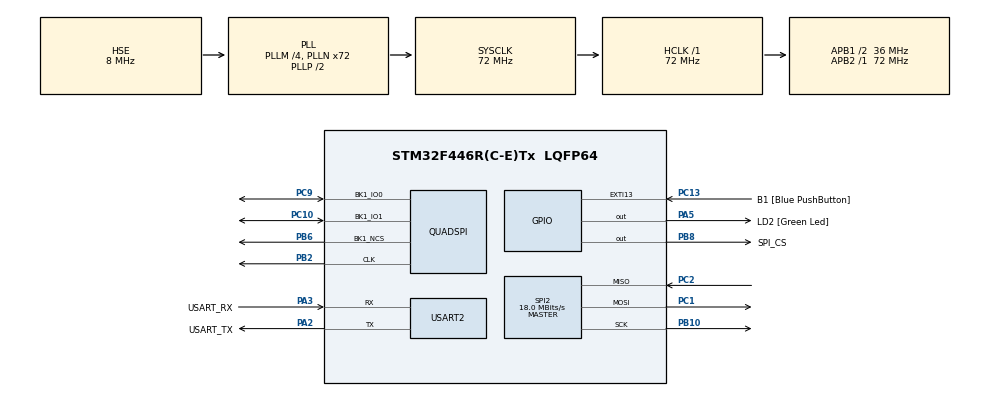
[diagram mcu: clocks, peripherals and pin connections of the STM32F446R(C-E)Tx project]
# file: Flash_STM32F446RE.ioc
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Mcu.Family=STM32F4
Mcu.Name=STM32F446R(C-E)Tx
Mcu.Package=LQFP64
NVIC.PriorityGroup=NVIC_PRIORITYGROUP_0
PA13.GPIO_Label=TMS
PA13.Mode=Serial_Wire
PA13.Signal=SYS_JTMS-SWDIO
PA14.GPIO_Label=TCK
PA14.Mode=Serial_Wire
PA14.Signal=SYS_JTCK-SWCLK
PA2.GPIO_Label=USART_TX
PA2.Mode=Asynchronous
PA2.Signal=USART2_TX
PA3.GPIO_Label=USART_RX
PA3.Mode=Asynchronous
PA3.Signal=USART2_RX
PA5.GPIO_Label=LD2 [Green Led]
PA5.Signal=GPIO_Output
PB10.Mode=Full_Duplex_Master
PB10.Signal=SPI2_SCK
PB2.Mode=Single Bank 1 2IOs
PB2.Signal=QUADSPI_CLK
PB3.GPIO_Label=SWO
PB3.Signal=SYS_JTDO-SWO
PB6.Mode=Single Bank 1 2IOs
PB6.Signal=QUADSPI_BK1_NCS
PB8.GPIO_Label=SPI_CS
PB8.Signal=GPIO_Output
PC1.Mode=Full_Duplex_Master
PC1.Signal=SPI2_MOSI
PC10.Mode=Single Bank 1 2IOs
PC10.Signal=QUADSPI_BK1_IO1
PC13.GPIO_Label=B1 [Blue PushButton]
PC13.GPIO_ModeDefaultEXTI=GPIO_MODE_IT_FALLING
PC13.Signal=GPXTI13
PC14-OSC32_IN.Mode=LSE-External-Oscillator
PC14-OSC32_IN.Signal=RCC_OSC32_IN
PC15-OSC32_OUT.Mode=LSE-External-Oscillator
PC15-OSC32_OUT.Signal=RCC_OSC32_OUT
PC2.Mode=Full_Duplex_Master
PC2.Signal=SPI2_MISO
PC9.Mode=Single Bank 1 2IOs
PC9.Signal=QUADSPI_BK1_IO0
PH0-OSC_IN.Mode=HSE-External-Oscillator
PH0-OSC_IN.Signal=RCC_OSC_IN
PH1-OSC_OUT.Mode=HSE-External-Oscillator
PH1-OSC_OUT.Signal=RCC_OSC_OUT
ProjectManager.HeapSize=0x200
ProjectManager.StackSize=0x400
ProjectManager.TargetToolchain=STM32CubeIDE
RCC.48MHZClocksFreq_Value=84000000
RCC.AHBFreq_Value=72000000
RCC.APB1CLKDivider=RCC_HCLK_DIV2
RCC.APB1Freq_Value=36000000
RCC.APB1TimFreq_Value=72000000
RCC.APB2Freq_Value=72000000
RCC.APB2TimFreq_Value=72000000
RCC.CortexFreq_Value=72000000
RCC.FLatency-AdvancedSettings=FLASH_LATENCY_2
RCC.HCLKFreq_Value=72000000
RCC.HSE_VALUE=8000000
RCC.HSI_VALUE=16000000
RCC.PLLM=4
RCC.PLLN=72
RCC.PLLSourceVirtual=RCC_PLLSOURCE_HSE
RCC.SYSCLKFreq_VALUE=72000000
RCC.SYSCLKSource=RCC_SYSCLKSOURCE_PLLCLK
RCC.USBFreq_Value=72000000
RCC.VCOOutputFreq_Value=144000000
SPI2.CalculateBaudRate=18.0 MBits/s
SPI2.Direction=SPI_DIRECTION_2LINES
SPI2.Mode=SPI_MODE_MASTER
SPI2.VirtualType=VM_MASTER
TIM1.Prescaler=72-1
USART2.VirtualMode=VM_ASYNC
VP_TIM1_VS_ClockSourceINT.Mode=Internal
board=NUCLEO-F446RE

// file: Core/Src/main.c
/* USER CODE BEGIN Header */
/**
  ******************************************************************************
  * @file           : main.c
  * @brief          : Main program body
  ******************************************************************************
  * @attention
  *
  * Copyright (c) 2023 STMicroelectronics.
  * All rights reserved.
  *
  * This software is licensed under terms that can be found in the LICENSE file
  * in the root directory of this software component.
  * If no LICENSE file comes with this software, it is provided AS-IS.
  *
  ******************************************************************************
  */
/* USER CODE END Header */
#include "main.h"

/* USER CODE BEGIN Includes */
#include "w25qxx/driver_w25qxx_basic.h"
#include "w25qxx/driver_w25qxx_advance.h"
#include "w25qxx/driver_w25qxx_read_test.h"
#include "w25qxx/driver_w25qxx_register_test.h"
#include "w25qxx/delay.h"
//#include "w25qxx/uart.h"

/* USER CODE END Includes */

QSPI_HandleTypeDef hqspi;

SPI_HandleTypeDef hspi2;

TIM_HandleTypeDef htim1;

UART_HandleTypeDef huart2;

void SystemClock_Config(void);
static void MX_GPIO_Init(void);
static void MX_USART2_UART_Init(void);
static void MX_SPI2_Init(void);
static void MX_TIM1_Init(void);
static void MX_QUADSPI_Init(void);

int main(void)
{

  /* MCU Configuration--------------------------------------------------------*/

  /* Reset of all peripherals, Initializes the Flash interface and the Systick. */
  HAL_Init();

  /* Configure the system clock */
  SystemClock_Config();

  /* Initialize all configured peripherals */
  MX_GPIO_Init();
  MX_USART2_UART_Init();
  MX_SPI2_Init();
  MX_TIM1_Init();
  MX_QUADSPI_Init();
  /* USER CODE BEGIN 2 */

  //uart2_init(115200);

  uint8_t data[32] = "HELLO\n";
  uint8_t dat;
  uint8_t res;
  char print_message[32];

  res = w25qxx_basic_init(W25Q64, W25QXX_INTERFACE_QSPI, W25QXX_BOOL_FALSE);
  if (res != 0)
  {
      memcpy(data, "Failed to initialise!", 32);
      HAL_UART_Transmit(&huart2, data, sizeof(data), 10);
      return 1;
  }

  //(void)w25qxx_basic_deinit();

  //return 0;

	/*__HAL_TIM_SET_COUNTER(&htim1,0);  // set the counter value a 0
	int counterman = 0;
	int cntval = 0;
	while (__HAL_TIM_GET_COUNTER(&htim1) < 10){
		counterman++;
		cntval = __HAL_TIM_GET_COUNTER(&htim1);
		// wait for the counter to reach the us input in the parameter
	}*/

  int address = 0;

  /* USER CODE END 2 */

  /* Infinite loop */
  while (1)
  {

    /* USER CODE BEGIN 3 */

	dat = (address % 256) & 0xFF;
	res = w25qxx_basic_write(address, (uint8_t *)&dat, 1);
	if (res != 0)
	{
		(void)w25qxx_basic_deinit();

		return 1;
	}
	else
	{
	  sprintf(print_message,"w25qxx: addr %d is %d.\n", address, dat);
	  HAL_UART_Transmit(&huart2, print_message, sizeof(print_message), 10);
	}

	res = w25qxx_basic_read(0x0, (uint8_t *)&dat, 1);
	if (res != 0)
	{
	  (void)w25qxx_basic_deinit();
	  memcpy(data, "Failed to read!", 32);
	  HAL_UART_Transmit(&huart2, data, sizeof(data), 10);
	  return 1;
	}
	else
	{
	  sprintf(print_message,"w25qxx: addr %d is %d.\n", address, dat);
	  HAL_UART_Transmit(&huart2, print_message, sizeof(print_message), 10);
	  //w25qxx_interface_debug_print("w25qxx: addr %d is %d.\n", 0x0, dat);
	}

	address++;
	//HAL_UART_Transmit(&huart2, data, sizeof(data), 10);
	HAL_Delay(1000);
  }
  /* USER CODE END 3 */
}

void SystemClock_Config(void)
{
  RCC_OscInitTypeDef RCC_OscInitStruct = {0};
  RCC_ClkInitTypeDef RCC_ClkInitStruct = {0};

  /** Configure the main internal regulator output voltage
  */
  __HAL_RCC_PWR_CLK_ENABLE();
  __HAL_PWR_VOLTAGESCALING_CONFIG(PWR_REGULATOR_VOLTAGE_SCALE3);

  /** Initializes the RCC Oscillators according to the specified parameters
  * in the RCC_OscInitTypeDef structure.
  */
  RCC_OscInitStruct.OscillatorType = RCC_OSCILLATORTYPE_HSE;
  RCC_OscInitStruct.HSEState = RCC_HSE_ON;
  RCC_OscInitStruct.PLL.PLLState = RCC_PLL_ON;
  RCC_OscInitStruct.PLL.PLLSource = RCC_PLLSOURCE_HSE;
  RCC_OscInitStruct.PLL.PLLM = 4;
  RCC_OscInitStruct.PLL.PLLN = 72;
  RCC_OscInitStruct.PLL.PLLP = RCC_PLLP_DIV2;
  RCC_OscInitStruct.PLL.PLLQ = 2;
  RCC_OscInitStruct.PLL.PLLR = 2;
  if (HAL_RCC_OscConfig(&RCC_OscInitStruct) != HAL_OK)
  {
    Error_Handler();
  }

  /** Initializes the CPU, AHB and APB buses clocks
  */
  RCC_ClkInitStruct.ClockType = RCC_CLOCKTYPE_HCLK|RCC_CLOCKTYPE_SYSCLK
                              |RCC_CLOCKTYPE_PCLK1|RCC_CLOCKTYPE_PCLK2;
  RCC_ClkInitStruct.SYSCLKSource = RCC_SYSCLKSOURCE_PLLCLK;
  RCC_ClkInitStruct.AHBCLKDivider = RCC_SYSCLK_DIV1;
  RCC_ClkInitStruct.APB1CLKDivider = RCC_HCLK_DIV2;
  RCC_ClkInitStruct.APB2CLKDivider = RCC_HCLK_DIV1;

  if (HAL_RCC_ClockConfig(&RCC_ClkInitStruct, FLASH_LATENCY_2) != HAL_OK)
  {
    Error_Handler();
  }
}

static void MX_QUADSPI_Init(void)
{

  /* QUADSPI parameter configuration*/
  hqspi.Instance = QUADSPI;
  hqspi.Init.ClockPrescaler = 255;
  hqspi.Init.FifoThreshold = 1;
  hqspi.Init.SampleShifting = QSPI_SAMPLE_SHIFTING_NONE;
  hqspi.Init.FlashSize = 1;
  hqspi.Init.ChipSelectHighTime = QSPI_CS_HIGH_TIME_1_CYCLE;
  hqspi.Init.ClockMode = QSPI_CLOCK_MODE_0;
  hqspi.Init.FlashID = QSPI_FLASH_ID_1;
  hqspi.Init.DualFlash = QSPI_DUALFLASH_DISABLE;
  if (HAL_QSPI_Init(&hqspi) != HAL_OK)
  {
    Error_Handler();
  }

}

static void MX_SPI2_Init(void)
{

  /* SPI2 parameter configuration*/
  hspi2.Instance = SPI2;
  hspi2.Init.Mode = SPI_MODE_MASTER;
  hspi2.Init.Direction = SPI_DIRECTION_2LINES;
  hspi2.Init.DataSize = SPI_DATASIZE_8BIT;
  hspi2.Init.CLKPolarity = SPI_POLARITY_LOW;
  hspi2.Init.CLKPhase = SPI_PHASE_1EDGE;
  hspi2.Init.NSS = SPI_NSS_SOFT;
  hspi2.Init.BaudRatePrescaler = SPI_BAUDRATEPRESCALER_2;
  hspi2.Init.FirstBit = SPI_FIRSTBIT_MSB;
  hspi2.Init.TIMode = SPI_TIMODE_DISABLE;
  hspi2.Init.CRCCalculation = SPI_CRCCALCULATION_DISABLE;
  hspi2.Init.CRCPolynomial = 10;
  if (HAL_SPI_Init(&hspi2) != HAL_OK)
  {
    Error_Handler();
  }

}

static void MX_TIM1_Init(void)
{

  TIM_ClockConfigTypeDef sClockSourceConfig = {0};
  TIM_MasterConfigTypeDef sMasterConfig = {0};

  htim1.Instance = TIM1;
  htim1.Init.Prescaler = 72-1;
  htim1.Init.CounterMode = TIM_COUNTERMODE_UP;
  htim1.Init.Period = 65535;
  htim1.Init.ClockDivision = TIM_CLOCKDIVISION_DIV1;
  htim1.Init.RepetitionCounter = 0;
  htim1.Init.AutoReloadPreload = TIM_AUTORELOAD_PRELOAD_DISABLE;
  if (HAL_TIM_Base_Init(&htim1) != HAL_OK)
  {
    Error_Handler();
  }
  sClockSourceConfig.ClockSource = TIM_CLOCKSOURCE_INTERNAL;
  if (HAL_TIM_ConfigClockSource(&htim1, &sClockSourceConfig) != HAL_OK)
  {
    Error_Handler();
  }
  sMasterConfig.MasterOutputTrigger = TIM_TRGO_RESET;
  sMasterConfig.MasterSlaveMode = TIM_MASTERSLAVEMODE_DISABLE;
  if (HAL_TIMEx_MasterConfigSynchronization(&htim1, &sMasterConfig) != HAL_OK)
  {
    Error_Handler();
  }

}

static void MX_USART2_UART_Init(void)
{

  huart2.Instance = USART2;
  huart2.Init.BaudRate = 115200;
  huart2.Init.WordLength = UART_WORDLENGTH_8B;
  huart2.Init.StopBits = UART_STOPBITS_1;
  huart2.Init.Parity = UART_PARITY_NONE;
  huart2.Init.Mode = UART_MODE_TX_RX;
  huart2.Init.HwFlowCtl = UART_HWCONTROL_NONE;
  huart2.Init.OverSampling = UART_OVERSAMPLING_16;
  if (HAL_UART_Init(&huart2) != HAL_OK)
  {
    Error_Handler();
  }

}

static void MX_GPIO_Init(void)
{
  GPIO_InitTypeDef GPIO_InitStruct = {0};

  /* GPIO Ports Clock Enable */
  __HAL_RCC_GPIOC_CLK_ENABLE();
  __HAL_RCC_GPIOH_CLK_ENABLE();
  __HAL_RCC_GPIOA_CLK_ENABLE();
  __HAL_RCC_GPIOB_CLK_ENABLE();

  /*Configure GPIO pin Output Level */
  HAL_GPIO_WritePin(LD2_GPIO_Port, LD2_Pin, GPIO_PIN_RESET);

  /*Configure GPIO pin Output Level */
  HAL_GPIO_WritePin(SPI_CS_GPIO_Port, SPI_CS_Pin, GPIO_PIN_RESET);

  /*Configure GPIO pin : B1_Pin */
  GPIO_InitStruct.Pin = B1_Pin;
  GPIO_InitStruct.Mode = GPIO_MODE_IT_FALLING;
  GPIO_InitStruct.Pull = GPIO_NOPULL;
  HAL_GPIO_Init(B1_GPIO_Port, &GPIO_InitStruct);

  /*Configure GPIO pin : LD2_Pin */
  GPIO_InitStruct.Pin = LD2_Pin;
  GPIO_InitStruct.Mode = GPIO_MODE_OUTPUT_PP;
  GPIO_InitStruct.Pull = GPIO_NOPULL;
  GPIO_InitStruct.Speed = GPIO_SPEED_FREQ_LOW;
  HAL_GPIO_Init(LD2_GPIO_Port, &GPIO_InitStruct);

  /*Configure GPIO pin : SPI_CS_Pin */
  GPIO_InitStruct.Pin = SPI_CS_Pin;
  GPIO_InitStruct.Mode = GPIO_MODE_OUTPUT_PP;
  GPIO_InitStruct.Pull = GPIO_NOPULL;
  GPIO_InitStruct.Speed = GPIO_SPEED_FREQ_LOW;
  HAL_GPIO_Init(SPI_CS_GPIO_Port, &GPIO_InitStruct);

}

void Error_Handler(void)
{
  __disable_irq();
  while (1)
  {
  }
}
